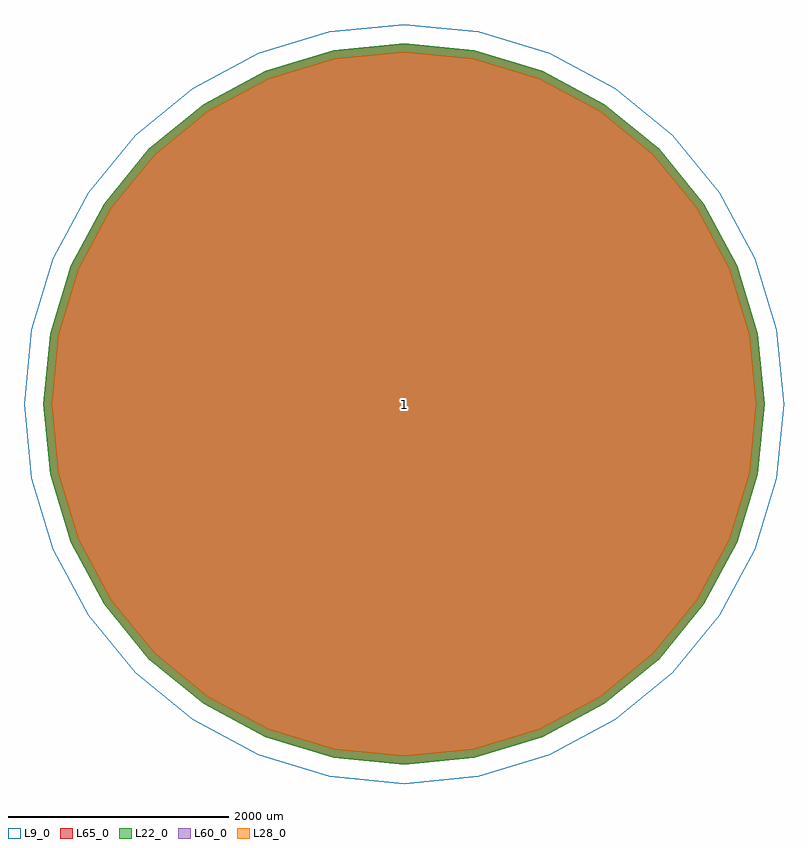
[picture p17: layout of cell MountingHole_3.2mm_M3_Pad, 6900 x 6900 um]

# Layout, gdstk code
import gdstk
lib = gdstk.Library(unit=1e-6, precision=1e-09)
def P(c, l, *ps):  # polygons
    for p in ps: c.add(gdstk.Polygon(p, *l))
L9_0 = (9, 0)
L22_0 = (22, 0)
L28_0 = (28, 0)
L60_0 = (60, 0)
L65_0 = (65, 0)

mountinghole_3_2mm_m3_pa = lib.new_cell('MountingHole_3.2mm_M3_Pad')
P(mountinghole_3_2mm_m3_pa, L9_0, [(3450,0),(3383.709,673.062),(3187.384,1320.258),(2868.57,1916.717),(2439.518,2439.518),(1916.717,2868.57),(1320.258,3187.384),(673.062,3383.709),(0,3450),(-673.062,3383.709),(-1320.258,3187.384),(-1916.717,2868.57),(-2439.518,2439.518),(-2868.57,1916.717),(-3187.384,1320.258),(-3383.709,673.062),(-3450,0),(-3383.709,-673.062),(-3187.384,-1320.258),(-2868.57,-1916.717),(-2439.518,-2439.518),(-1916.717,-2868.57),(-1320.258,-3187.384),(-673.062,-3383.709),(0,-3450),(673.062,-3383.709),(1320.258,-3187.384),(1916.717,-2868.57),(2439.518,-2439.518),(2868.57,-1916.717),(3187.384,-1320.258),(3383.709,-673.062)],
  [(3200,0),(3138.513,624.289),(2956.415,1224.587),(2660.703,1777.825),(2262.742,2262.742),(1777.825,2660.703),(1224.587,2956.415),(624.289,3138.513),(0,3200),(-624.289,3138.513),(-1224.587,2956.415),(-1777.825,2660.703),(-2262.742,2262.742),(-2660.703,1777.825),(-2956.415,1224.587),(-3138.513,624.289),(-3200,0),(-3138.513,-624.289),(-2956.415,-1224.587),(-2660.703,-1777.825),(-2262.742,-2262.742),(-1777.825,-2660.703),(-1224.587,-2956.415),(-624.289,-3138.513),(0,-3200),(624.289,-3138.513),(1224.587,-2956.415),(1777.825,-2660.703),(2262.742,-2262.742),(2660.703,-1777.825),(2956.415,-1224.587),(3138.513,-624.289)])
P(mountinghole_3_2mm_m3_pa, L22_0, [(3275,0),(3212.072,638.921),(3025.705,1253.288),(2723.063,1819.493),(2315.775,2315.775),(1819.493,2723.063),(1253.288,3025.705),(638.921,3212.072),(0,3275),(-638.921,3212.072),(-1253.288,3025.705),(-1819.493,2723.063),(-2315.775,2315.775),(-2723.063,1819.493),(-3025.705,1253.288),(-3212.072,638.921),(-3275,0),(-3212.072,-638.921),(-3025.705,-1253.288),(-2723.063,-1819.493),(-2315.775,-2315.775),(-1819.493,-2723.063),(-1253.288,-3025.705),(-638.921,-3212.072),(0,-3275),(638.921,-3212.072),(1253.288,-3025.705),(1819.493,-2723.063),(2315.775,-2315.775),(2723.063,-1819.493),(3025.705,-1253.288),(3212.072,-638.921)])
P(mountinghole_3_2mm_m3_pa, L28_0, [(3200,0),(3138.513,624.289),(2956.415,1224.587),(2660.703,1777.825),(2262.742,2262.742),(1777.825,2660.703),(1224.587,2956.415),(624.289,3138.513),(0,3200),(-624.289,3138.513),(-1224.587,2956.415),(-1777.825,2660.703),(-2262.742,2262.742),(-2660.703,1777.825),(-2956.415,1224.587),(-3138.513,624.289),(-3200,0),(-3138.513,-624.289),(-2956.415,-1224.587),(-2660.703,-1777.825),(-2262.742,-2262.742),(-1777.825,-2660.703),(-1224.587,-2956.415),(-624.289,-3138.513),(0,-3200),(624.289,-3138.513),(1224.587,-2956.415),(1777.825,-2660.703),(2262.742,-2262.742),(2660.703,-1777.825),(2956.415,-1224.587),(3138.513,-624.289)])
P(mountinghole_3_2mm_m3_pa, L60_0, [(3200,0),(3138.513,624.289),(2956.415,1224.587),(2660.703,1777.825),(2262.742,2262.742),(1777.825,2660.703),(1224.587,2956.415),(624.289,3138.513),(0,3200),(-624.289,3138.513),(-1224.587,2956.415),(-1777.825,2660.703),(-2262.742,2262.742),(-2660.703,1777.825),(-2956.415,1224.587),(-3138.513,624.289),(-3200,0),(-3138.513,-624.289),(-2956.415,-1224.587),(-2660.703,-1777.825),(-2262.742,-2262.742),(-1777.825,-2660.703),(-1224.587,-2956.415),(-624.289,-3138.513),(0,-3200),(624.289,-3138.513),(1224.587,-2956.415),(1777.825,-2660.703),(2262.742,-2262.742),(2660.703,-1777.825),(2956.415,-1224.587),(3138.513,-624.289)])
P(mountinghole_3_2mm_m3_pa, L65_0, [(3275,0),(3212.072,638.921),(3025.705,1253.288),(2723.063,1819.493),(2315.775,2315.775),(1819.493,2723.063),(1253.288,3025.705),(638.921,3212.072),(0,3275),(-638.921,3212.072),(-1253.288,3025.705),(-1819.493,2723.063),(-2315.775,2315.775),(-2723.063,1819.493),(-3025.705,1253.288),(-3212.072,638.921),(-3275,0),(-3212.072,-638.921),(-3025.705,-1253.288),(-2723.063,-1819.493),(-2315.775,-2315.775),(-1819.493,-2723.063),(-1253.288,-3025.705),(-638.921,-3212.072),(0,-3275),(638.921,-3212.072),(1253.288,-3025.705),(1819.493,-2723.063),(2315.775,-2315.775),(2723.063,-1819.493),(3025.705,-1253.288),(3212.072,-638.921)])
mountinghole_3_2mm_m3_pa.add(gdstk.Label('1', (0,0), layer=28, texttype=0))
mountinghole_3_2mm_m3_pa.add(gdstk.Label('type', (0,-4200), layer=9, texttype=0))
mountinghole_3_2mm_m3_pa.add(gdstk.Label('devicename', (0,4200), layer=9, texttype=0))

lib.write_gds('MountingHole_3.2mm_M3_Pad.gds')
